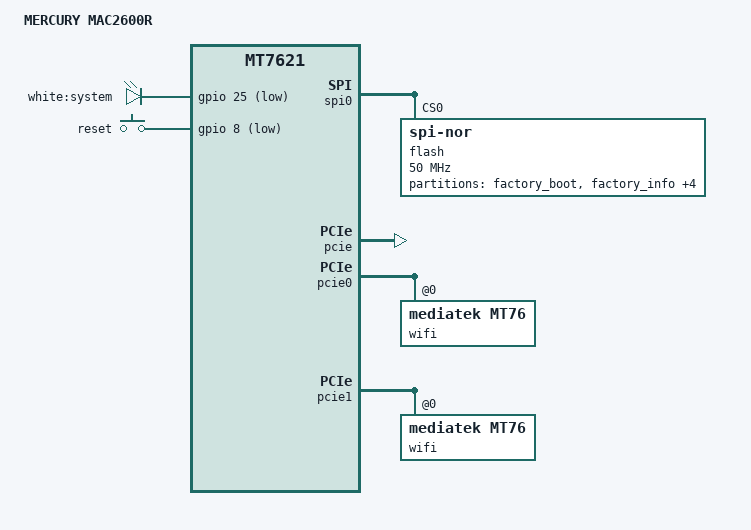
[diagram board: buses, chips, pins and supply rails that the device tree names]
// SPDX-License-Identifier: GPL-2.0-or-later OR MIT

#include "mt7621.dtsi"

#include <dt-bindings/gpio/gpio.h>
#include <dt-bindings/input/input.h>

/ {
	compatible = "mercury,mac2600r", "mediatek,mt7621-soc";
	model = "MERCURY MAC2600R";

	aliases {
		label-mac-device = &wan;
		led-boot = &led_system;
		led-failsafe = &led_system;
		led-running = &led_system;
		led-upgrade = &led_system;
	};

	leds {
		compatible = "gpio-leds";

		led_system: system {
			label = "white:system";
			gpios = <&gpio 25 GPIO_ACTIVE_LOW>;
		};
	};

	keys {
		compatible = "gpio-keys";

		reset {
			label = "reset";
			gpios = <&gpio 8 GPIO_ACTIVE_LOW>;
			linux,code = <KEY_RESTART>;
		};
	};
};

&spi0 {
	status = "okay";

	flash@0 {
		compatible = "jedec,spi-nor";
		reg = <0>;
		spi-max-frequency = <50000000>;
		m25p,fast-read;

		partitions {
			compatible = "fixed-partitions";
			#address-cells = <1>;
			#size-cells = <1>;

			partition@0 {
				label = "factory_boot";
				reg = <0x0 0x1d800>;
				read-only;
			};

			factory_info: partition@1d800 {
				label = "factory_info";
				reg = <0x1d800 0x800>;
				read-only;
				
				compatible = "nvmem-cells";
				#address-cells = <1>;
				#size-cells = <1>;

				macaddr_factory_info_d: macaddr@d {
					reg = <0xd 0x6>;
				};
			};

			art: partition@1e000 {
				label = "art";
				reg = <0x1e000 0x2000>;
				read-only;
			};

			partition@20000 {
				label = "config";
				reg = <0x20000 0x10000>;
				read-only;
			};

			partition@30000 {
				label = "normal_boot";
				reg = <0x30000 0x10000>;
				read-only;
			};

			partition@40000 {
				compatible = "denx,uimage";
				label = "firmware";
				reg = <0x40000 0x7c0000>;
			};
		};
	};
};

&state_default {
	gpio {
		groups = "uart3", "rgmii2";
		function = "gpio";
	};
};

&gmac0 {
	nvmem-cells = <&macaddr_factory_info_d>;
	nvmem-cell-names = "mac-address";
};

&switch0 {
	ports {
		wan: port@0 {
			status = "okay";
			label = "wan";
			nvmem-cells = <&macaddr_factory_info_d>;
			nvmem-cell-names = "mac-address";
			mac-address-increment = <1>;
		};

		port@1 {
			status = "okay";
			label = "lan1";
		};

		port@2 {
			status = "okay";
			label = "lan2";
		};

		port@3 {
			status = "okay";
			label = "lan3";
		};

		port@4 {
			status = "okay";
			label = "lan4";
		};
	};
};

&pcie {
	status = "okay";
};

&pcie0 {
	wifi@0,0 {
		compatible = "mediatek,mt76";
		reg = <0x0000 0 0 0 0>;
		mediatek,mtd-eeprom = <&art 0x0>;
		ieee80211-freq-limit = <2400000 2500000>;
		nvmem-cells = <&macaddr_factory_info_d>;
		nvmem-cell-names = "mac-address";
	};
};

&pcie1 {
	wifi@0,0 {
		compatible = "mediatek,mt76";
		reg = <0x0000 0 0 0 0>;
		mediatek,mtd-eeprom = <&art 0x1000>;
		ieee80211-freq-limit = <5000000 6000000>;
		nvmem-cells = <&macaddr_factory_info_d>;
		nvmem-cell-names = "mac-address";
		mac-address-increment = <2>;
	};
};
